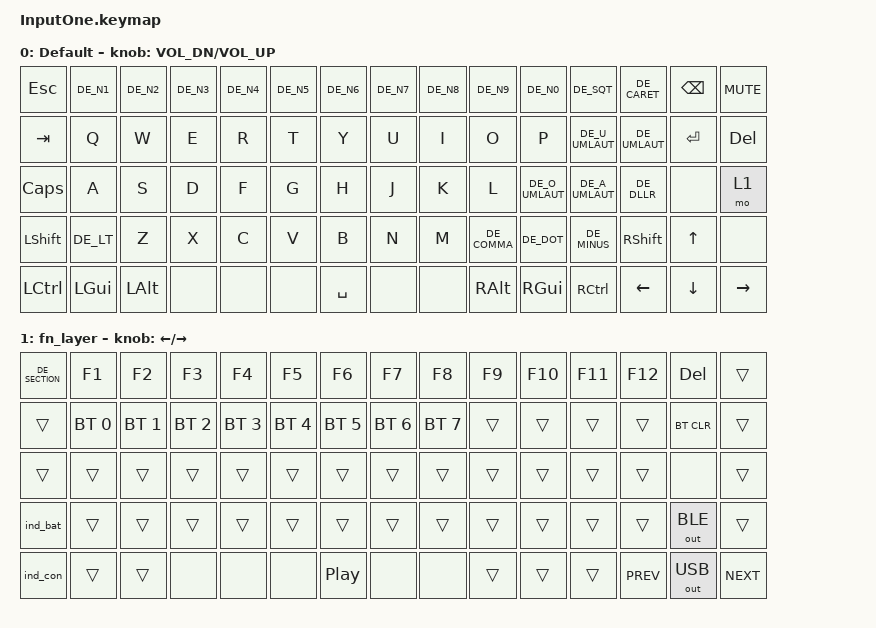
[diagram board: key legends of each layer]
/*
 * Copyright (c) 2022 The ZMK Contributors
 *
 * SPDX-License-Identifier: MIT
 */

#include <behaviors/rgbled_widget.dtsi>
#include "boards/shields/InputOne/keys_de_swiss.h"
#include <behaviors.dtsi>
#include <dt-bindings/zmk/bt.h>
#include <dt-bindings/zmk/keys.h>
#include <dt-bindings/zmk/outputs.h>

/ {
    keymap {
        compatible = "zmk,keymap";

        default_layer {
            bindings = <
&kp ESC     &kp DE_N1  &kp DE_N2  &kp DE_N3  &kp DE_N4  &kp DE_N5  &kp DE_N6  &kp DE_N7  &kp DE_N8  &kp DE_N9     &kp DE_N0        &kp DE_SQT       &kp DE_CARET   &kp BSPC      &kp C_MUTE
&kp TAB     &kp Q      &kp W      &kp E      &kp R      &kp T      &kp Y      &kp U      &kp I      &kp O         &kp P            &kp DE_U_UMLAUT  &kp DE_UMLAUT  &kp RET       &kp DEL
&kp CAPS    &kp A      &kp S      &kp D      &kp F      &kp G      &kp H      &kp J      &kp K      &kp L         &kp DE_O_UMLAUT  &kp DE_A_UMLAUT  &kp DE_DLLR    &none         &mo 1
&kp LSHIFT  &kp DE_LT  &kp Z      &kp X      &kp C      &kp V      &kp B      &kp N      &kp M      &kp DE_COMMA  &kp DE_DOT       &kp DE_MINUS     &kp RSHIFT     &kp UP_ARROW  &none
&kp LCTRL   &kp LGUI   &kp LALT   &none      &none      &none      &kp SPACE  &none      &none      &kp RALT      &kp RGUI         &kp RCTRL        &kp LEFT       &kp DOWN      &kp RIGHT
            >;

            sensor-bindings = <&inc_dec_kp C_VOL_DN C_VOL_UP>;
            label = "Default";
        };

        fn_layer {
            display-name = "fn_layer";
            bindings = <
&kp DE_SECTION  &kp F1        &kp F2        &kp F3        &kp F4        &kp F5        &kp F6            &kp F7        &kp F8        &kp F9  &kp F10  &kp F11  &kp F12     &kp DELETE    &trans
&trans          &bt BT_SEL 0  &bt BT_SEL 1  &bt BT_SEL 2  &bt BT_SEL 3  &bt BT_SEL 4  &bt BT_SEL 5      &bt BT_SEL 6  &bt BT_SEL 7  &trans  &trans   &trans   &trans      &bt BT_CLR    &trans
&trans          &trans        &trans        &trans        &trans        &trans        &trans            &trans        &trans        &trans  &trans   &trans   &trans      &none         &trans
&ind_bat        &trans        &trans        &trans        &trans        &trans        &trans            &trans        &trans        &trans  &trans   &trans   &trans      &out OUT_BLE  &trans
&ind_con        &trans        &trans        &none         &none         &none         &kp C_PLAY_PAUSE  &none         &none         &trans  &trans   &trans   &kp C_PREV  &out OUT_USB  &kp C_NEXT
            >;

            sensor-bindings = <&inc_dec_kp LEFT RIGHT>;
            label = "fn_layer";
        };
    };
};
